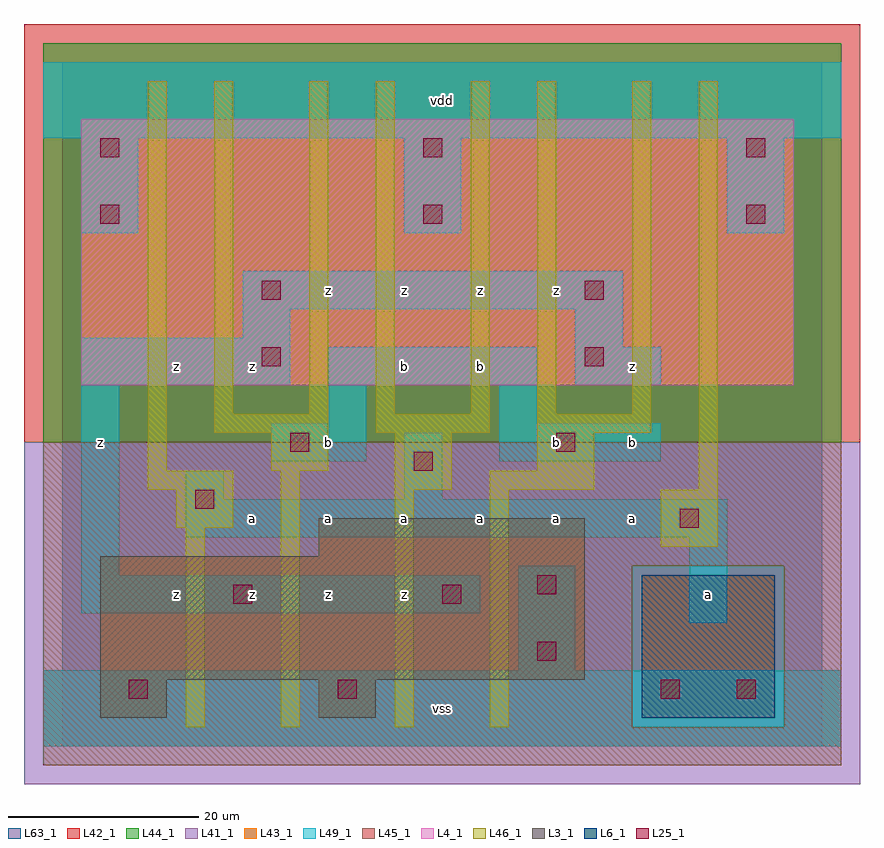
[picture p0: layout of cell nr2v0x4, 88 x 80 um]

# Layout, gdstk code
import gdstk
lib = gdstk.Library(unit=1e-6, precision=1e-09)
def R(c, l, rs):  # rectangles x0, y0, x1, y1
    for r in rs: c.add(gdstk.rectangle(r[:2], r[2:], *l))
def A(c, l, x, y, w, h, nx, ny, dx, dy):  # array of equal rectangles
    R(c, l, [(x+i*dx, y+j*dy, x+i*dx+w, y+j*dy+h) for i in range(nx) for j in range(ny)])
L3_1 = (3, 1)
L4_1 = (4, 1)
L6_1 = (6, 1)
L25_1 = (25, 1)
L41_1 = (41, 1)
L42_1 = (42, 1)
L43_1 = (43, 1)
L44_1 = (44, 1)
L45_1 = (45, 1)
L46_1 = (46, 1)
L49_1 = (49, 1)
L63_1 = (63, 1)

nr2v0x4 = lib.new_cell('nr2v0x4')
R(nr2v0x4, L3_1, [(4,3,11,7), (27,3,33,7), (4,7,55,20), (27,20,55,24)])
R(nr2v0x4, L4_1, [(2,38,77,66)])
R(nr2v0x4, L6_1, [(61,3,75,18), (61,3,75,18)])
A(nr2v0x4, L25_1, 4, 55, 2, 2, 3, 2, 34, 7)
R(nr2v0x4, L25_1, [(7,5,9,7), (29,5,31,7), (63,5,65,7), (71,5,73,7), (50,9,52,11), (18,15,20,17), (40,15,42,17), (50,16,52,18), (65,23,67,25), (14,25,16,27), (37,29,39,31), (24,31,26,33), (52,31,54,33), (21,40,23,42), (55,40,57,42), (21,47,23,49), (55,47,57,49)])
R(nr2v0x4, L41_1, [(-4,-4,84,32)])
R(nr2v0x4, L42_1, [(-4,32,84,76)])
R(nr2v0x4, L43_1, [(4,3,11,7), (27,3,33,7), (61,3,75,18), (4,7,55,20), (27,20,55,24), (2,38,77,66)])
R(nr2v0x4, L44_1, [(60,2,76,19), (-2,32,82,74)])
R(nr2v0x4, L45_1, [(-2,-2,82,2), (-2,2,60,19), (76,2,82,19), (-2,19,82,32)])
A(nr2v0x4, L46_1, 16, 33, 12, 2, 3, 1, 17, 0)
R(nr2v0x4, L46_1, [(13,2,15,23), (23,2,25,29), (35,2,37,27), (45,2,47,27), (63,21,69,27), (12,23,18,27), (9,27,18,29), (35,27,41,33), (45,27,56,29), (67,27,69,70), (9,29,11,70), (22,29,28,33), (50,29,56,33), (16,35,18,70), (26,35,28,70), (33,35,35,70), (43,35,45,70), (50,35,52,70), (60,35,62,70)])
A(nr2v0x4, L49_1, 2, 54, 6, 10, 3, 1, 34, 0)
R(nr2v0x4, L49_1, [(-2,0,82,8), (48,8,54,19), (66,13,70,22), (2,14,44,18), (2,18,6,38), (13,22,70,26), (13,26,17,29), (36,26,40,33), (22,30,32,34), (46,30,63,34), (28,34,32,38), (46,34,50,38), (2,38,24,43), (28,38,50,42), (54,38,63,42), (54,42,59,46), (19,43,24,46), (19,46,59,50), (-2,64,82,72)])
R(nr2v0x4, L63_1, [(0,0,80,72)])
nr2v0x4.add(gdstk.Label('z', (4,32), layer=49, texttype=1))
nr2v0x4.add(gdstk.Label('z', (20,16), layer=49, texttype=1))
nr2v0x4.add(gdstk.Label('z', (28,16), layer=49, texttype=1))
nr2v0x4.add(gdstk.Label('z', (12,16), layer=49, texttype=1))
nr2v0x4.add(gdstk.Label('a', (20,24), layer=49, texttype=1))
nr2v0x4.add(gdstk.Label('a', (28,24), layer=49, texttype=1))
nr2v0x4.add(gdstk.Label('b', (28,32), layer=49, texttype=1))
nr2v0x4.add(gdstk.Label('z', (12,40), layer=49, texttype=1))
nr2v0x4.add(gdstk.Label('z', (20,40), layer=49, texttype=1))
nr2v0x4.add(gdstk.Label('z', (28,48), layer=49, texttype=1))
nr2v0x4.add(gdstk.Label('vss', (40,4), layer=49, texttype=1))
nr2v0x4.add(gdstk.Label('z', (36,16), layer=49, texttype=1))
nr2v0x4.add(gdstk.Label('a', (36,24), layer=49, texttype=1))
nr2v0x4.add(gdstk.Label('a', (44,24), layer=49, texttype=1))
nr2v0x4.add(gdstk.Label('b', (36,40), layer=49, texttype=1))
nr2v0x4.add(gdstk.Label('b', (44,40), layer=49, texttype=1))
nr2v0x4.add(gdstk.Label('z', (36,48), layer=49, texttype=1))
nr2v0x4.add(gdstk.Label('z', (44,48), layer=49, texttype=1))
nr2v0x4.add(gdstk.Label('vdd', (40,68), layer=49, texttype=1))
nr2v0x4.add(gdstk.Label('a', (52,24), layer=49, texttype=1))
nr2v0x4.add(gdstk.Label('a', (60,24), layer=49, texttype=1))
nr2v0x4.add(gdstk.Label('b', (60,32), layer=49, texttype=1))
nr2v0x4.add(gdstk.Label('b', (52,32), layer=49, texttype=1))
nr2v0x4.add(gdstk.Label('z', (60,40), layer=49, texttype=1))
nr2v0x4.add(gdstk.Label('z', (52,48), layer=49, texttype=1))
nr2v0x4.add(gdstk.Label('a', (68,16), layer=49, texttype=1))

lib.write_gds('nr2v0x4.gds')
